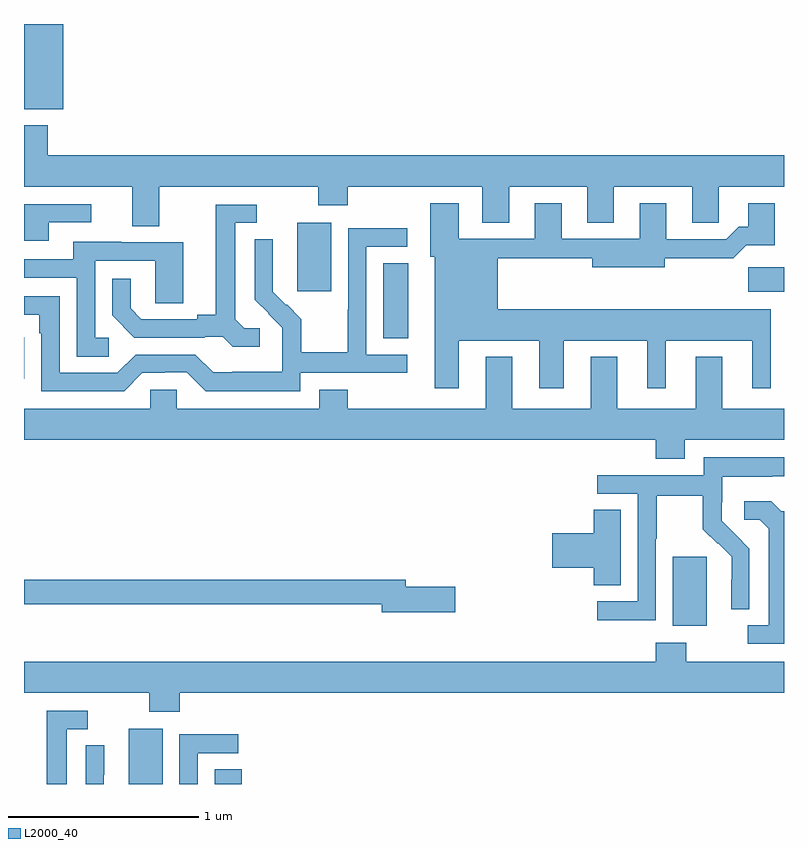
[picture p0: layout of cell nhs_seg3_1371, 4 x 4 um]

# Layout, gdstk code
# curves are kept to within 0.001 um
import gdstk
lib = gdstk.Library(unit=1e-6, precision=1e-09)
def R(c, l, rs):  # rectangles x0, y0, x1, y1
    for r in rs: c.add(gdstk.rectangle(r[:2], r[2:], *l))
def P(c, l, *ps):  # polygons
    for p in ps: c.add(gdstk.Polygon(p, *l))
L2000_40 = (2000, 40)

nhs_seg3_1371 = lib.new_cell('nhs_seg3_1371')
R(nhs_seg3_1371, L2000_40, [(181.55,736.4,181.729,736.69), (182.003,736.4,182.147,736.478), (184.415,737.234,184.594,737.595), (181,738.534,181.001,738.752), (182.891,738.745,183.022,739.142), (184.812,738.992,185,739.121), (182.438,738.993,182.617,739.354), (181,739.952,181.207,740.4)])
P(nhs_seg3_1371, L2000_40, [(181.711,739.544),(182.548,739.544),(182.548,739.445),(182.703,739.445),(182.703,739.544),(183.413,739.544),(183.413,739.354),(183.553,739.354),(183.553,739.544),(183.965,739.544),(183.965,739.354),(184.105,739.354),(184.105,739.544),(184.517,739.544),(184.517,739.354),(184.656,739.354),(184.656,739.544),(185,739.544),(185,739.708),(181.124,739.708),(181.124,739.867),(181,739.867),(181,739.544),(181.571,739.544),(181.571,739.336),(181.711,739.336)],
  [(183.289,738.734),(183.713,738.734),(183.713,738.483),(183.841,738.483),(183.841,738.734),(184.28,738.734),(184.28,738.483),(184.378,738.483),(184.378,738.734),(184.832,738.734),(184.832,738.483),(184.93,738.483),(184.93,738.898),(183.493,738.898),(183.493,739.168),(183.992,739.168),(183.992,739.121),(184.372,739.121),(184.372,739.166),(184.733,739.166),(184.802,739.235),(184.951,739.235),(184.951,739.456),(184.811,739.456),(184.811,739.333),(184.762,739.333),(184.695,739.266),(184.381,739.266),(184.381,739.456),(184.241,739.456),(184.241,739.269),(183.829,739.269),(183.829,739.456),(183.689,739.456),(183.689,739.269),(183.289,739.269),(183.289,739.456),(183.137,739.456),(183.137,739.176),(183.161,739.176),(183.161,738.483),(183.289,738.483)],
  [(181.129,739.356),(181.354,739.356),(181.354,739.452),(181,739.452),(181,739.26),(181.129,739.26)],
  [(182.242,738.798),(182.16,738.798),(182.113,738.845),(182.113,739.353),(182.224,739.353),(182.224,739.449),(182.009,739.449),(182.009,738.869),(181.913,738.869),(181.913,738.846),(181.618,738.846),(181.561,738.903),(181.561,739.06),(181.464,739.06),(181.464,738.866),(181.58,738.75),(181.952,738.75),(181.952,738.753),(182.046,738.753),(182.098,738.701),(182.242,738.701)],
  [(182.454,738.564),(183.016,738.564),(183.016,738.66),(182.802,738.66),(182.802,739.227),(183.016,739.227),(183.016,739.326),(182.706,739.326),(182.706,738.896),(182.704,738.896),(182.704,738.673),(182.459,738.673),(182.459,738.847),(182.382,738.924),(182.379,738.921),(182.309,738.992),(182.31,739.268),(182.214,739.268),(182.214,738.95),(182.36,738.802),(182.36,738.705),(182.358,738.705),(182.358,738.571),(182.095,738.571),(182.095,738.567),(181.995,738.567),(181.902,738.66),(181.587,738.66),(181.491,738.564),(181.188,738.564),(181.188,738.966),(181,738.966),(181,738.87),(181.079,738.87),(181.079,738.773),(181.092,738.773),(181.092,738.468),(181.527,738.468),(181.623,738.564),(181.742,738.564),(181.742,738.567),(181.857,738.567),(181.957,738.467),(182.454,738.467)],
  [(181.447,738.75),(181.374,738.75),(181.374,739.155),(181.692,739.155),(181.692,738.931),(181.837,738.931),(181.837,739.251),(181.513,739.251),(181.513,739.255),(181.259,739.255),(181.259,739.161),(181,739.161),(181,739.065),(181.278,739.065),(181.278,738.649),(181.447,738.649)],
  [(185,738.376),(184.675,738.376),(184.675,738.649),(184.535,738.649),(184.535,738.376),(184.123,738.376),(184.123,738.649),(183.983,738.649),(183.983,738.376),(183.571,738.376),(183.571,738.649),(183.431,738.649),(183.431,738.376),(182.703,738.376),(182.703,738.475),(182.555,738.475),(182.555,738.376),(181.803,738.376),(181.803,738.474),(181.665,738.474),(181.665,738.376),(181,738.376),(181,738.212),(184.325,738.212),(184.325,738.113),(184.477,738.113),(184.477,738.212),(185,738.212)],
  [(184.326,737.692),(184.329,737.692),(184.329,737.916),(184.573,737.916),(184.573,737.741),(184.65,737.664),(184.653,737.667),(184.724,737.597),(184.724,737.474),(184.722,737.474),(184.722,737.32),(184.818,737.32),(184.818,737.638),(184.672,737.786),(184.672,737.883),(184.674,737.883),(184.674,738.017),(184.937,738.017),(184.937,738.021),(185,738.021),(185,738.121),(184.578,738.121),(184.578,738.024),(184.017,738.024),(184.017,737.928),(184.23,737.928),(184.23,737.361),(184.017,737.361),(184.017,737.263),(184.326,737.263)],
  [(185,737.835),(184.986,737.835),(184.934,737.887),(184.791,737.887),(184.791,737.79),(184.872,737.79),(184.919,737.743),(184.919,737.235),(184.809,737.235),(184.809,737.139),(185,737.139)],
  [(184.141,737.843),(183.998,737.843),(183.998,737.72),(183.78,737.72),(183.78,737.537),(183.998,737.537),(183.998,737.446),(184.141,737.446)],
  [(183.271,737.438),(183.01,737.438),(183.01,737.474),(181,737.474),(181,737.346),(182.882,737.346),(182.882,737.303),(183.271,737.303)],
  [(181.82,736.88),(185,736.88),(185,737.044),(184.485,737.044),(184.485,737.143),(184.325,737.143),(184.325,737.044),(181,737.044),(181,736.88),(181.66,736.88),(181.66,736.781),(181.82,736.781)],
  [(181.225,736.689),(181.336,736.689),(181.336,736.785),(181.121,736.785),(181.121,736.4),(181.225,736.4)],
  [(181.914,736.563),(182.128,736.563),(182.128,736.662),(181.818,736.662),(181.818,736.4),(181.914,736.4)],
  [(181.421,736.45),(181.422,736.45),(181.422,736.604),(181.326,736.604),(181.326,736.4),(181.421,736.4)])

lib.write_gds('nhs_seg3_1371.gds')
